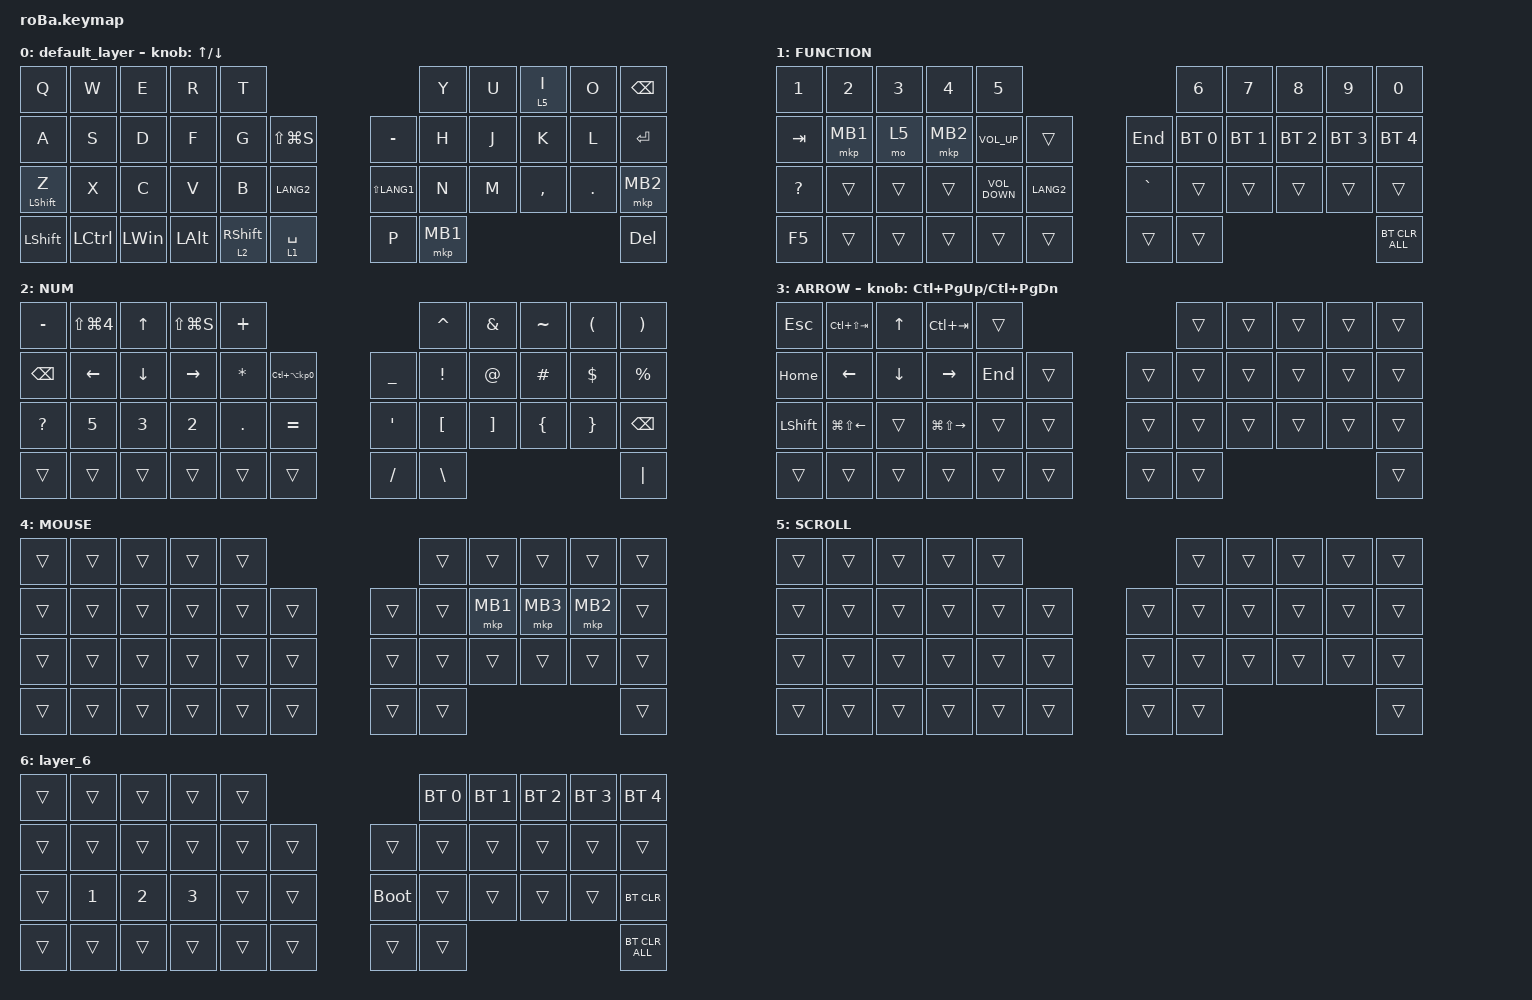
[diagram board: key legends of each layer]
#include <behaviors.dtsi>
#include <dt-bindings/zmk/bt.h>
#include <dt-bindings/zmk/keys.h>
#include <dt-bindings/zmk/pointing.h>

&mt {
    flavor = "balanced";
    quick-tap-ms = <0>;
};

&trackball {
    automouse-layer = <4>;
    scroll-layers = <5>;

    // arrows {
    //     layers = <3>;
    //     bindings =
    //         <&kp RIGHT_ARROW>,
    //         <&kp LEFT_ARROW>,
    //         <&kp UP_ARROW>,
    //         <&kp DOWN_ARROW>;
    //     tick = <10>;
    //     wait-ms = <5>;
    //     tap-ms = <5>;
    // };
};

/ {
    combos {
        compatible = "zmk,combos";

        tab {
            bindings = <&kp TAB>;
            key-positions = <11 12>;
        };

        shift_tab {
            bindings = <&kp LS(TAB)>;
            key-positions = <12 13>;
        };

        muhennkann {
            bindings = <&to_layer_0 INT_MUHENKAN>;
            key-positions = <11 10>;
        };

        double_quotation {
            bindings = <&kp DOUBLE_QUOTES>;
            key-positions = <20 21>;
        };

        eq {
            bindings = <&kp EQUAL>;
            key-positions = <24 25>;
        };
    };

    macros {
        to_layer_0: to_layer_0 {
            compatible = "zmk,behavior-macro-one-param";
            #binding-cells = <1>;
            bindings = <&to 0 &macro_param_1to1 &kp MACRO_PLACEHOLDER>;
            label = "TO_LAYER_0";
        };
    };

    behaviors {
        lt_to_layer_0: lt_to_layer_0 {
            compatible = "zmk,behavior-hold-tap";
            label = "LAYER_TAP_TO_0";
            bindings = <&mo>, <&to_layer_0>;

            #binding-cells = <2>;
            tapping-term-ms = <200>;
        };
    };

    keymap {
        compatible = "zmk,keymap";

        default_layer {
            bindings = <
&kp Q             &kp W             &kp E         &kp R         &kp T                                                                    &kp Y     &kp U  &lt 5 I    &kp O    &kp BACKSPACE
&kp A             &kp S             &kp D         &kp F         &kp G                         &kp LS(LG(S))               &kp MINUS      &kp H     &kp J  &kp K      &kp L    &kp ENTER
&mt LEFT_SHIFT Z  &kp X             &kp C         &kp V         &kp B                         &kp LANG2                   &kp LS(LANG1)  &kp N     &kp M  &kp COMMA  &kp DOT  &mkp MB2
&kp LEFT_SHIFT    &kp LEFT_CONTROL  &kp LEFT_WIN  &kp LEFT_ALT  &lt_to_layer_0 2 RIGHT_SHIFT  &lt_to_layer_0 1 SPACE      &kp P          &mkp MB1                             &kp DEL
            >;

            sensor-bindings = <&inc_dec_kp UP_ARROW DOWN_ARROW>;
        };

        FUNCTION {
            bindings = <
&kp NUMBER_1  &kp NUMBER_2  &kp NUMBER_3  &kp NUMBER_4  &kp NUMBER_5                                 &kp NUMBER_6  &kp NUMBER_7  &kp NUMBER_8  &kp NUMBER_9  &kp NUMBER_0
&kp TAB       &mkp MB1      &mo 5         &mkp MB2      &kp K_VOLUME_UP    &trans         &kp END    &bt BT_SEL 0  &bt BT_SEL 1  &bt BT_SEL 2  &bt BT_SEL 3  &bt BT_SEL 4
&kp QUESTION  &trans        &trans        &trans        &kp K_VOLUME_DOWN  &kp LANG2      &kp GRAVE  &trans        &trans        &trans        &trans        &trans
&kp F5        &trans        &trans        &trans        &trans             &trans         &trans     &trans                                                  &bt BT_CLR_ALL
            >;
        };

        NUM {
            bindings = <
&kp MINUS      &kp LS(LG(NUMBER_4))  &kp UP_ARROW    &kp LS(LG(S))    &kp PLUS                                                   &kp CARET         &kp AMPERSAND      &kp TILDE       &kp LEFT_PARENTHESIS  &kp RIGHT_PARENTHESIS
&kp BACKSPACE  &kp LEFT_ARROW        &kp DOWN_ARROW  &kp RIGHT_ARROW  &kp ASTERISK  &kp LC(LA(KP_NUMBER_0))      &kp UNDERSCORE  &kp EXCLAMATION   &kp AT_SIGN        &kp HASH        &kp DOLLAR            &kp PERCENT
&kp QUESTION   &kp NUMBER_5          &kp NUMBER_3    &kp NUMBER_2     &kp PERIOD    &kp EQUAL                    &kp SQT         &kp LEFT_BRACKET  &kp RIGHT_BRACKET  &kp LEFT_BRACE  &kp RIGHT_BRACE       &kp BACKSPACE
&trans         &trans                &trans          &trans           &trans        &trans                       &kp SLASH       &kp BACKSLASH                                                              &kp PIPE
            >;
        };

        ARROW {
            bindings = <
&kp ESCAPE      &kp LC(LS(TAB))         &kp UP_ARROW    &kp LC(TAB)              &trans                       &trans  &trans  &trans  &trans  &trans
&kp HOME        &kp LEFT_ARROW          &kp DOWN_ARROW  &kp RIGHT_ARROW          &kp END  &trans      &trans  &trans  &trans  &trans  &trans  &trans
&kp LEFT_SHIFT  &kp LG(LS(LEFT_ARROW))  &trans          &kp LG(LS(RIGHT_ARROW))  &trans   &trans      &trans  &trans  &trans  &trans  &trans  &trans
&trans          &trans                  &trans          &trans                   &trans   &trans      &trans  &trans                          &trans
            >;

            sensor-bindings = <&inc_dec_kp LC(PAGE_UP) LC(PAGE_DOWN)>;
        };

        MOUSE {
            bindings = <
&trans  &trans  &trans  &trans  &trans                      &trans  &trans    &trans    &trans    &trans
&trans  &trans  &trans  &trans  &trans  &trans      &trans  &trans  &mkp MB1  &mkp MB3  &mkp MB2  &trans
&trans  &trans  &trans  &trans  &trans  &trans      &trans  &trans  &trans    &trans    &trans    &trans
&trans  &trans  &trans  &trans  &trans  &trans      &trans  &trans                                &trans
            >;
        };

        SCROLL {
            bindings = <
&trans  &trans  &trans  &trans  &trans                      &trans  &trans  &trans  &trans  &trans
&trans  &trans  &trans  &trans  &trans  &trans      &trans  &trans  &trans  &trans  &trans  &trans
&trans  &trans  &trans  &trans  &trans  &trans      &trans  &trans  &trans  &trans  &trans  &trans
&trans  &trans  &trans  &trans  &trans  &trans      &trans  &trans                          &trans
            >;
        };

        layer_6 {
            bindings = <
&trans  &trans        &trans        &trans        &trans                           &bt BT_SEL 0  &bt BT_SEL 1  &bt BT_SEL 2  &bt BT_SEL 3  &bt BT_SEL 4
&trans  &trans        &trans        &trans        &trans  &trans      &trans       &trans        &trans        &trans        &trans        &trans
&trans  &kp NUMBER_1  &kp NUMBER_2  &kp NUMBER_3  &trans  &trans      &bootloader  &trans        &trans        &trans        &trans        &bt BT_CLR
&trans  &trans        &trans        &trans        &trans  &trans      &trans       &trans                                                  &bt BT_CLR_ALL
            >;
        };
    };
};
